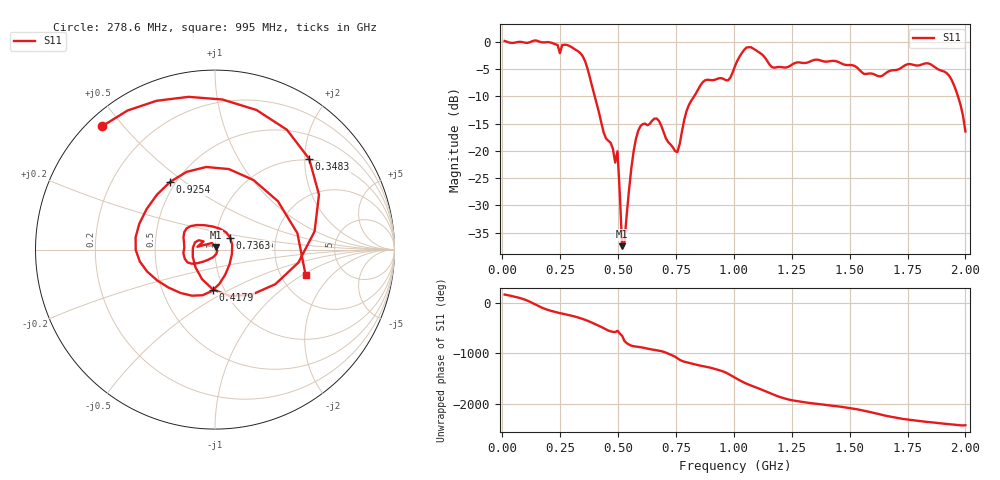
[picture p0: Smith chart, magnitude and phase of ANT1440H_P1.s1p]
!Created with skrf (http://scikit-rf.org).
# Hz S RI R 50.0
!freq ReS11 ImS11
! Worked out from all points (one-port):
!   201 points, 10 MHz to 2 GHz, reference 50 ohm
!   lowest |S11| = -37.4 dB at 517.5 MHz (marker M1), VSWR 1.03, Z = 50.4 + j1.28 ohm
!   |S11| at or under -10 dB: 399.2 MHz to 828.9 MHz (429.7 MHz wide, 70 % of centre); 1.968 GHz to end of sweep
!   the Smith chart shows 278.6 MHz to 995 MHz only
!   S11 on the Smith chart (normalised r, x): 278.6 MHz: 0.04, +0.44; 348.3 MHz: 0.98, +2.10; 417.9 MHz: 0.89, -0.42; 736.4 MHz: 1.17, +0.16; 925.4 MHz: 0.47, +0.44; 995 MHz: 2.74, -1.06
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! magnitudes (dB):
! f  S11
! 10 MHz  0.1
! 258.8 MHz  -0.6
! 278.6 MHz  -0.6
! 348.3 MHz  -2.7
! 417.9 MHz  -13.0
! 487.6 MHz  -22.1
! 497.6 MHz  -20.1
! 507.5 MHz  -27.8
! 517.5 MHz  -37.4
! 527.4 MHz  -36.7
! 567.2 MHz  -20.1
! 597 MHz  -15.5
! 666.7 MHz  -14.1
! 736.4 MHz  -19.3
! 756.2 MHz  -20.2
! 806 MHz  -11.6
! 865.7 MHz  -7.4
! 925.4 MHz  -6.9
! 995 MHz  -5.6
! 1.005 GHz  -4.5
! 1.065 GHz  -1.0
! 1.164 GHz  -4.7
! 1.254 GHz  -4.1
! 1.502 GHz  -4.3
! 1.632 GHz  -6.4
! 1.751 GHz  -4.1
! 1.93 GHz  -6.3
! 2 GHz  -16.5
